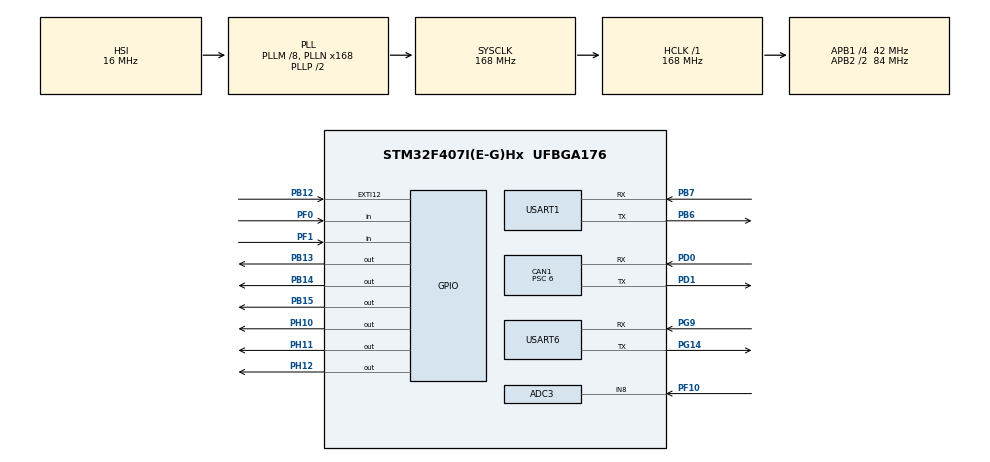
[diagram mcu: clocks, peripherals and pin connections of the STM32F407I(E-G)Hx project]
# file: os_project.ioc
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ADC1.Channel-0\#ChannelRegularConversion=ADC_CHANNEL_TEMPSENSOR
ADC1.NbrOfConversionFlag=1
ADC1.Rank-0\#ChannelRegularConversion=1
ADC1.SamplingTime-0\#ChannelRegularConversion=ADC_SAMPLETIME_3CYCLES
ADC1.master=1
ADC3.Channel-0\#ChannelRegularConversion=ADC_CHANNEL_8
ADC3.NbrOfConversionFlag=1
ADC3.Rank-0\#ChannelRegularConversion=1
ADC3.SamplingTime-0\#ChannelRegularConversion=ADC_SAMPLETIME_3CYCLES
CAN1.BS1=CAN_BS1_3TQ
CAN1.BS2=CAN_BS2_3TQ
CAN1.CalculateBaudRate=1000000
CAN1.CalculateTimeBit=1000
CAN1.CalculateTimeQuantum=142.85714285714286
CAN1.Prescaler=6
FREERTOS.Tasks01=gimbal,0,128,StartGimbalTask,Default,NULL,Dynamic,NULL,NULL;voltage,-2,128,StartVoltageTask,Default,NULL,Dynamic,NULL,NULL;RGB,-3,128,StartRGBTask,Default,NULL,Dynamic,NULL,NULL;spring_motor,1,128,StartSpringMotorTask,Default,NULL,Dynamic,NULL,NULL;message,2,128,StartMessageTask,Default,NULL,Dynamic,NULL,NULL
Mcu.Family=STM32F4
Mcu.Name=STM32F407I(E-G)Hx
Mcu.Package=UFBGA176
NVIC.CAN1_RX0_IRQn=true\:5\:0\:false\:false\:true\:true\:true\:true\:true
NVIC.CAN1_RX1_IRQn=true\:5\:0\:false\:false\:true\:true\:true\:true\:true
NVIC.PriorityGroup=NVIC_PRIORITYGROUP_4
NVIC.TIM1_UP_TIM10_IRQn=true\:15\:0\:false\:false\:true\:false\:false\:true\:true
NVIC.TimeBase=TIM1_UP_TIM10_IRQn
NVIC.TimeBaseIP=TIM1
NVIC.USART1_IRQn=true\:5\:0\:false\:false\:true\:true\:true\:true\:true
NVIC.USART6_IRQn=true\:10\:0\:true\:false\:true\:true\:true\:true\:true
PA13.Mode=Serial_Wire
PA13.Signal=SYS_JTMS-SWDIO
PA14.Mode=Serial_Wire
PA14.Signal=SYS_JTCK-SWCLK
PB12.Signal=GPXTI12
PB13.Signal=GPIO_Output
PB14.Signal=GPIO_Output
PB15.Signal=GPIO_Output
PB6.Mode=Asynchronous
PB6.Signal=USART1_TX
PB7.Mode=Asynchronous
PB7.Signal=USART1_RX
PD0.Mode=CAN_Activate
PD0.Signal=CAN1_RX
PD1.Mode=CAN_Activate
PD1.Signal=CAN1_TX
PF0.Signal=GPIO_Input
PF1.Signal=GPIO_Input
PF10.Mode=IN8
PF10.Signal=ADC3_IN8
PG14.Mode=Asynchronous
PG14.Signal=USART6_TX
PG9.Mode=Asynchronous
PG9.Signal=USART6_RX
PH0-OSC_IN.Mode=HSE-External-Oscillator
PH0-OSC_IN.Signal=RCC_OSC_IN
PH1-OSC_OUT.Mode=HSE-External-Oscillator
PH1-OSC_OUT.Signal=RCC_OSC_OUT
PH10.Signal=GPIO_Output
PH11.Signal=GPIO_Output
PH12.Signal=GPIO_Output
ProjectManager.HeapSize=0x200
ProjectManager.StackSize=0x400
ProjectManager.TargetToolchain=MDK-ARM V5.32
RCC.48MHZClocksFreq_Value=84000000
RCC.AHBFreq_Value=168000000
RCC.APB1CLKDivider=RCC_HCLK_DIV4
RCC.APB1Freq_Value=42000000
RCC.APB1TimFreq_Value=84000000
RCC.APB2CLKDivider=RCC_HCLK_DIV2
RCC.APB2Freq_Value=84000000
RCC.APB2TimFreq_Value=168000000
RCC.CortexFreq_Value=168000000
RCC.HCLKFreq_Value=168000000
RCC.HSE_VALUE=12000000
RCC.HSI_VALUE=16000000
RCC.LSE_VALUE=32768
RCC.PLLM=8
RCC.PLLN=168
RCC.SYSCLKFreq_VALUE=168000000
RCC.SYSCLKSource=RCC_SYSCLKSOURCE_PLLCLK
RCC.VCOOutputFreq_Value=336000000
USART1.VirtualMode=VM_ASYNC
USART6.VirtualMode=VM_ASYNC
VP_ADC1_TempSens_Input.Mode=IN-TempSens
VP_ADC1_Vref_Input.Mode=IN-Vrefint
VP_FREERTOS_VS_CMSIS_V1.Mode=CMSIS_V1
VP_SYS_VS_tim1.Mode=TIM1
board=custom

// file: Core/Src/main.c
/* USER CODE BEGIN Header */
/**
  ******************************************************************************
  * @file           : main.c
  * @brief          : Main program body
  ******************************************************************************
  * @attention
  *
  * Copyright (c) 2024 STMicroelectronics.
  * All rights reserved.
  *
  * This software is licensed under terms that can be found in the LICENSE file
  * in the root directory of this software component.
  * If no LICENSE file comes with this software, it is provided AS-IS.
  *
  ******************************************************************************
  */
/* USER CODE END Header */
#include "main.h"
#include "cmsis_os.h"
#include "adc.h"
#include "can.h"
#include "usart.h"
#include "gpio.h"

void SystemClock_Config(void);
void MX_FREERTOS_Init(void);

int main(void)
{

  /* MCU Configuration--------------------------------------------------------*/

  /* Reset of all peripherals, Initializes the Flash interface and the Systick. */
  HAL_Init();

  /* Configure the system clock */
  SystemClock_Config();

  /* Initialize all configured peripherals */
  MX_GPIO_Init();
  MX_ADC1_Init();
  MX_ADC3_Init();
  MX_CAN1_Init();
  MX_USART1_UART_Init();
  MX_USART6_UART_Init();

  /* Call init function for freertos objects (in freertos.c) */
  MX_FREERTOS_Init();

  /* Start scheduler */
  osKernelStart();

  /* We should never get here as control is now taken by the scheduler */
  /* Infinite loop */
  while (1)
  {

  }
}

void SystemClock_Config(void)
{
  RCC_OscInitTypeDef RCC_OscInitStruct = {0};
  RCC_ClkInitTypeDef RCC_ClkInitStruct = {0};

  /** Configure the main internal regulator output voltage
  */
  __HAL_RCC_PWR_CLK_ENABLE();
  __HAL_PWR_VOLTAGESCALING_CONFIG(PWR_REGULATOR_VOLTAGE_SCALE1);

  /** Initializes the RCC Oscillators according to the specified parameters
  * in the RCC_OscInitTypeDef structure.
  */
  RCC_OscInitStruct.OscillatorType = RCC_OSCILLATORTYPE_HSI;
  RCC_OscInitStruct.HSIState = RCC_HSI_ON;
  RCC_OscInitStruct.HSICalibrationValue = RCC_HSICALIBRATION_DEFAULT;
  RCC_OscInitStruct.PLL.PLLState = RCC_PLL_ON;
  RCC_OscInitStruct.PLL.PLLSource = RCC_PLLSOURCE_HSI;
  RCC_OscInitStruct.PLL.PLLM = 8;
  RCC_OscInitStruct.PLL.PLLN = 168;
  RCC_OscInitStruct.PLL.PLLP = RCC_PLLP_DIV2;
  RCC_OscInitStruct.PLL.PLLQ = 4;
  if (HAL_RCC_OscConfig(&RCC_OscInitStruct) != HAL_OK)
  {
    Error_Handler();
  }

  /** Initializes the CPU, AHB and APB buses clocks
  */
  RCC_ClkInitStruct.ClockType = RCC_CLOCKTYPE_HCLK|RCC_CLOCKTYPE_SYSCLK
                              |RCC_CLOCKTYPE_PCLK1|RCC_CLOCKTYPE_PCLK2;
  RCC_ClkInitStruct.SYSCLKSource = RCC_SYSCLKSOURCE_PLLCLK;
  RCC_ClkInitStruct.AHBCLKDivider = RCC_SYSCLK_DIV1;
  RCC_ClkInitStruct.APB1CLKDivider = RCC_HCLK_DIV4;
  RCC_ClkInitStruct.APB2CLKDivider = RCC_HCLK_DIV2;

  if (HAL_RCC_ClockConfig(&RCC_ClkInitStruct, FLASH_LATENCY_5) != HAL_OK)
  {
    Error_Handler();
  }
}

void HAL_TIM_PeriodElapsedCallback(TIM_HandleTypeDef *htim)
{
  if (htim->Instance == TIM1) {
    HAL_IncTick();
  }
}

void Error_Handler(void)
{
  __disable_irq();
  while (1)
  {
  }
}

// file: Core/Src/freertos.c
/* USER CODE BEGIN Header */
/**
  ******************************************************************************
  * File Name          : freertos.c
  * Description        : Code for freertos applications
  ******************************************************************************
  * @attention
  *
  * Copyright (c) 2024 STMicroelectronics.
  * All rights reserved.
  *
  * This software is licensed under terms that can be found in the LICENSE file
  * in the root directory of this software component.
  * If no LICENSE file comes with this software, it is provided AS-IS.
  *
  ******************************************************************************
  */
/* USER CODE END Header */

#include "FreeRTOS.h"
#include "task.h"
#include "main.h"
#include "cmsis_os.h"

/* USER CODE BEGIN Includes */
#include "gimbal_task.h"
#include "voltage_task.h"
#include "spring_motor_task.h"
#include "NRF24L01.h"
/* USER CODE END Includes */

osThreadId gimbalHandle;
osThreadId voltageHandle;
osThreadId RGBHandle;
osThreadId spring_motorHandle;
osThreadId messageHandle;

void StartGimbalTask(void const * argument);
void StartVoltageTask(void const * argument);
void StartRGBTask(void const * argument);
void StartSpringMotorTask(void const * argument);
void StartMessageTask(void const * argument);

void MX_FREERTOS_Init(void); /* (MISRA C 2004 rule 8.1) */

/* GetIdleTaskMemory prototype (linked to static allocation support) */
void vApplicationGetIdleTaskMemory( StaticTask_t **ppxIdleTaskTCBBuffer, StackType_t **ppxIdleTaskStackBuffer, uint32_t *pulIdleTaskStackSize );

/* USER CODE BEGIN GET_IDLE_TASK_MEMORY */
static StaticTask_t xIdleTaskTCBBuffer;
static StackType_t xIdleStack[configMINIMAL_STACK_SIZE];

void vApplicationGetIdleTaskMemory( StaticTask_t **ppxIdleTaskTCBBuffer, StackType_t **ppxIdleTaskStackBuffer, uint32_t *pulIdleTaskStackSize )
{
  *ppxIdleTaskTCBBuffer = &xIdleTaskTCBBuffer;
  *ppxIdleTaskStackBuffer = &xIdleStack[0];
  *pulIdleTaskStackSize = configMINIMAL_STACK_SIZE;
  /* place for user code */
}
/* USER CODE END GET_IDLE_TASK_MEMORY */

void MX_FREERTOS_Init(void) {

  /* Create the thread(s) */
  /* definition and creation of gimbal */
  osThreadDef(gimbal, StartGimbalTask, osPriorityNormal, 0, 128);
  gimbalHandle = osThreadCreate(osThread(gimbal), NULL);

  /* definition and creation of voltage */
  osThreadDef(voltage, StartVoltageTask, osPriorityLow, 0, 128);
  voltageHandle = osThreadCreate(osThread(voltage), NULL);

  /* definition and creation of RGB */
  osThreadDef(RGB, StartRGBTask, osPriorityIdle, 0, 128);
  RGBHandle = osThreadCreate(osThread(RGB), NULL);

  /* definition and creation of spring_motor */
  osThreadDef(spring_motor, StartSpringMotorTask, osPriorityAboveNormal, 0, 128);
  spring_motorHandle = osThreadCreate(osThread(spring_motor), NULL);

  /* definition and creation of message */
  osThreadDef(message, StartMessageTask, osPriorityHigh, 0, 128);
  messageHandle = osThreadCreate(osThread(message), NULL);

}

void StartGimbalTask(void const * argument)
{
  /* USER CODE BEGIN StartGimbalTask */
  /* Infinite loop */
  gimbal_task_init();
  for(;;)
  {
    gimbal_task();
    osDelay(1);
  }
  /* USER CODE END StartGimbalTask */
}

void StartVoltageTask(void const * argument)
{
  /* USER CODE BEGIN StartVoltageTask */
  /* Infinite loop */
  voltage_task_init();
  for(;;)
  {
    voltage_task();
    osDelay(1);
  }
  /* USER CODE END StartVoltageTask */
}

void StartRGBTask(void const * argument)
{
  /* USER CODE BEGIN StartRGBTask */
  /* Infinite loop */
  HAL_GPIO_WritePin(GPIOH,GPIO_PIN_10,GPIO_PIN_SET);
  for(;;)
  {
    HAL_GPIO_TogglePin(GPIOH,GPIO_PIN_10);
    HAL_GPIO_TogglePin(GPIOH,GPIO_PIN_11);
    HAL_GPIO_TogglePin(GPIOH,GPIO_PIN_12);
    osDelay(100);
  }
  /* USER CODE END StartRGBTask */
}

void StartSpringMotorTask(void const * argument)
{
  /* USER CODE BEGIN StartSpringMotorTask */
  /* Infinite loop */
  spring_motor_task_init();
  for(;;)
  {
    spring_motor_task();
    osDelay(1);
  }
  /* USER CODE END StartSpringMotorTask */
}

void StartMessageTask(void const * argument)
{
  /* USER CODE BEGIN StartMessageTask */
  /* Infinite loop */
  message_task_init();
  while(1)
		{
  message_task();
		osDelay(100);
  }
  /* USER CODE END StartMessageTask */
}
